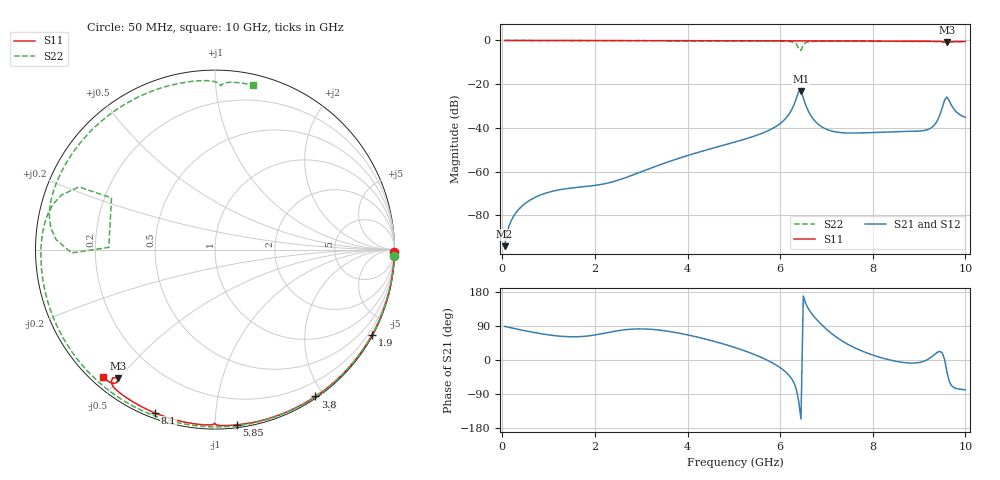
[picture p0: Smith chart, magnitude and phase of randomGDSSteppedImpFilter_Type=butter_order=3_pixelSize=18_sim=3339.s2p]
! freq	dB(S11)	phase(S11)	dB(S12)	phase(S12)
!  dB(S21)	phase(S21)	dB(S22)	phase(S22)
!S-par simulation data
#  GHz  S  DB  R 50
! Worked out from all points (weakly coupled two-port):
!   200 points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, 50 MHz to 10 GHz, reference 50 ohm
!   highest |S21| = -23.09 dB at 6.45 GHz (marker M1); lowest = -94.1 dB at 50 MHz (marker M2)
!   lowest |S11| = -0.9 dB at 9.6 GHz (marker M3), VSWR 18.64, Z = 3.34 - j24.8 ohm
!   |S11| at or under -10 dB: nowhere
!   |S22| runs from -4.6 to 0.0 dB; largest |S21 - S12| = 0
!   S11 on the Smith chart (normalised r, x): 50 MHz: open; 1.9 GHz: 0.03, -3.94; 3.8 GHz: 0.02, -1.90; 5.85 GHz: 0.02, -1.13; 8.1 GHz: 0.02, -0.70; 10 GHz: 0.03, -0.45
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0.05  -0.00 -0.8  -94.10 88.7  -94.10 88.7  -0.00 -2.0
0.25  -0.01 -3.8  -80.21 83.3  -80.21 83.3  -0.01 -9.7
0.85  -0.02 -12.9  -70.49 69.1  -70.49 69.1  -0.04 -32.4
1.75  -0.03 -26.3  -66.92 62.3  -66.92 62.3  -0.08 -64.7
1.9  -0.04 -28.5  -66.57 64.2  -66.57 64.2  -0.08 -69.8
3.4  -0.07 -50.0  -56.90 78.8  -56.90 78.8  -0.13 -116.1
3.8  -0.08 -55.6  -53.99 71.2  -53.99 71.2  -0.15 -127.2
5.05  -0.11 -72.5  -46.30 31.9  -46.30 31.9  -0.21 -159.8
5.85  -0.14 -82.8  -40.10 -8.8  -40.10 -8.8  -0.27 179.2
6.15  -0.16 -86.7  -34.89 -35.1  -34.89 -35.1  -0.39 169.2
6.35  -0.21 -89.5  -26.50 -77.3  -26.50 -77.3  -1.57 155.3
6.4  -0.27 -90.1  -23.38 -108.4  -23.38 -108.4  -3.81 153.4
6.45  -0.29 -90.1  -23.09 -156.0  -23.09 -156.0  -4.56 178.8
6.55  -0.21 -91.2  -29.42 149.9  -29.42 149.9  -1.04 176.4
6.7  -0.19 -93.2  -35.54 119.5  -35.54 119.5  -0.48 167.3
7.15  -0.21 -98.8  -41.64 66.1  -41.64 66.1  -0.36 152.9
8.1  -0.27 -110.1  -42.03 9.0  -42.03 9.0  -0.40 128.0
8.35  -0.29 -113.1  -41.83 0.6  -41.83 0.6  -0.42 121.4
9.25  -0.37 -123.9  -40.15 6.6  -40.15 6.6  -0.49 97.0
9.4  -0.42 -126.2  -36.44 20.8  -36.44 20.8  -0.52 92.6
9.6  -0.93 -127.1  -25.85 -30.5  -25.85 -30.5  -0.78 88.0
10  -0.48 -131.2  -35.17 -78.5  -35.17 -78.5  -0.54 76.8
